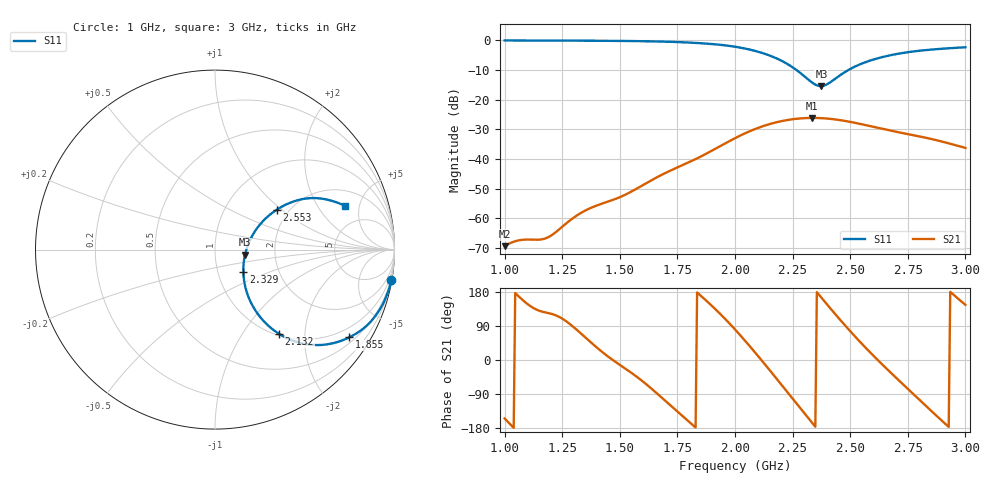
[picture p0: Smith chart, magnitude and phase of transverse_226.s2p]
! TOUCHSTONE file generated by CST MICROWAVE STUDIO
! Date and time: Tue Mar 11 13:57:53 2025
! Project name: transverse.cst
! Parameters = {Fracture=5; B=10; D=160; F=5; Feed=2.85625; L=100; M=30; R=0.384908; S=1; Theta=270; length=57.125; wave=114.25}
! Header version: 2024
! Port assignment regex: !\s*Touchstone port\s*([0-9]+)\s*=\s*(CST MWS port|CST DES external port|CST DES block port)\s*(.+)\s* \(\"(.*)\"\)(\s*mode\s*([0-9]+))?.*
! Touchstone port assignment:
! Touchstone port 1 = CST MWS port 1 ("")
! Touchstone port 2 = CST MWS port 2 ("")
# GHz S MA R 50
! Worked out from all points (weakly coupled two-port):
!   305 points, 1 GHz to 3 GHz, reference 50 ohm
!   highest |S21| = -26.14 dB at 2.336 GHz (marker M1); lowest = -69.4 dB at 1 GHz (marker M2)
!   lowest |S11| = -15.4 dB at 2.375 GHz (marker M3), VSWR 1.41, Z = 69.9 - j4.19 ohm
!   |S11| at or under -10 dB: 2.267 GHz to 2.492 GHz (224.7 MHz wide, 9.44 % of centre)
!   S12 and S22 are empty: the file has one direction only
!   S11 on the Smith chart (normalised r, x): 1 GHz: 0, -12; 1.855 GHz: 0.66, -3.24; 2.132 GHz: 1.03, -1.48; 2.329 GHz: 1.32, -0.35; 2.553 GHz: 1.74, +0.93; 3 GHz: 3.09, +3.62
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1  0.9977 -9.8  0.0003394 -154.2  0 0.0  0 0.0
1.05921  0.9967 -10.6  0.0004235 169.0  0 0.0  0 0.0
1.15132  0.9952 -11.9  0.0004376 129.8  0 0.0  0 0.0
1.18421  0.9946 -12.4  0.0004701 124.5  0 0.0  0 0.0
1.33553  0.9895 -15.1  0.001261 67.7  0 0.0  0 0.0
1.51974  0.9784 -19.5  0.00246 -21.0  0 0.0  0 0.0
1.67105  0.9581 -24.4  0.005161 -93.4  0 0.0  0 0.0
1.85526  0.8943 -33.1  0.0112 167.6  0 0.0  0 0.0
2  0.7821 -42.9  0.02247 80.7  0 0.0  0 0.0
2.06579  0.6976 -48.0  0.02962 35.2  0 0.0  0 0.0
2.13158  0.5901 -52.7  0.0369 -12.7  0 0.0  0 0.0
2.23026  0.3943 -56.4  0.04568 -86.9  0 0.0  0 0.0
2.32895  0.2023 -38.6  0.04929 -161.4  0 0.0  0 0.0
2.33553  0.1936 -35.4  0.04931 -166.3  0 0.0  0 0.0
2.35526  0.1749 -23.6  0.04921 179.1  0 0.0  0 0.0
2.375  0.1696 -9.9  0.04887 164.5  0 0.0  0 0.0
2.40132  0.1837 7.1  0.04806 145.3  0 0.0  0 0.0
2.46053  0.2654 27.2  0.04501 103.1  0 0.0  0 0.0
2.55263  0.4097 32.9  0.03836 41.4  0 0.0  0 0.0
2.67105  0.5584 30.2  0.03032 -30.6  0 0.0  0 0.0
2.82237  0.6832 24.1  0.02312 -117.6  0 0.0  0 0.0
3  0.7654 18.5  0.01541 145.6  0 0.0  0 0.0
